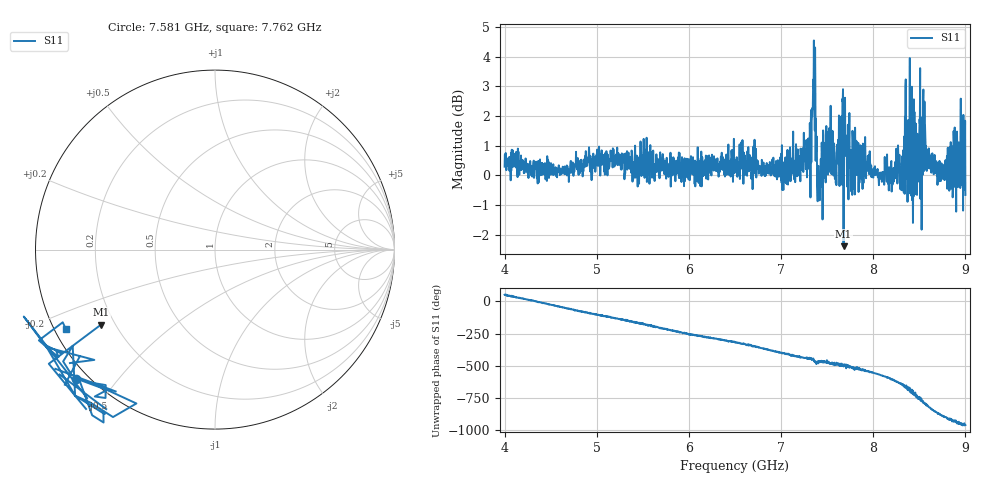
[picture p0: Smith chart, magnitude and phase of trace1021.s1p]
! Created with skrf 1.8.0 (http://scikit-rf.org).
# Hz S RI R 50.0
!freq ReS11 ImS11
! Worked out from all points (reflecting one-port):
!   1601 points, 4 GHz to 9 GHz, reference 50 ohm
!   lowest |S11| = -2.4 dB at 7.678 GHz (marker M1), VSWR 7.31, Z = 7.44 - j14.7 ohm
!   phase of S11 starts at 53 deg and turns -1017 deg over the sweep
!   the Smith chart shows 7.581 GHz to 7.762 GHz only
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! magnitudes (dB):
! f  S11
! 4 GHz  0.3
! 4.625 GHz  0.1
! 5.25 GHz  0.4
! 5.875 GHz  0.3
! 6.5 GHz  0.5
! 7.125 GHz  0.2
! 7.294 GHz  1.2
! 7.322 GHz  1.6
! 7.347 GHz  2.9
! 7.366 GHz  1.5
! 7.4 GHz  0.2
! 7.412 GHz  -0.1
! 7.512 GHz  1.2
! 7.591 GHz  0.2
! 7.647 GHz  1.5
! 7.678 GHz  -2.4
! 7.75 GHz  0.4
! 8.222 GHz  0.1
! 8.316 GHz  0.6
! 8.334 GHz  1.3
! 8.375 GHz  0.9
! 8.447 GHz  2.1
! 8.519 GHz  1.6
! 8.606 GHz  0.4
! 8.722 GHz  -0.2
! 8.878 GHz  0.0
! 8.953 GHz  -0.3
! 9 GHz  -0.7
